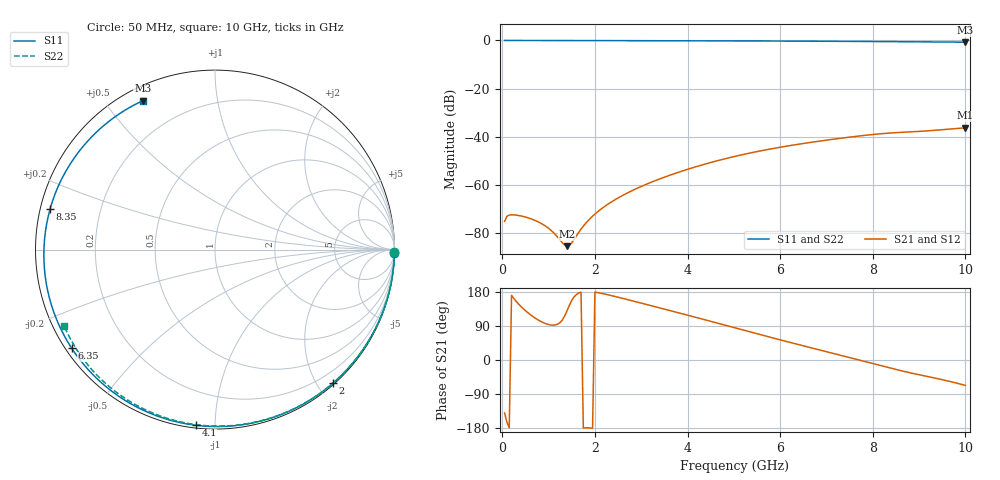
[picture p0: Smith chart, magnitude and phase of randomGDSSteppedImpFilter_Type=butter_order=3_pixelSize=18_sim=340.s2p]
! freq	dB(S11)	phase(S11)	dB(S12)	phase(S12)
!  dB(S21)	phase(S21)	dB(S22)	phase(S22)
!S-par simulation data
#  GHz  S  DB  R 50
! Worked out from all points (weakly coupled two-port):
!   200 points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, 50 MHz to 10 GHz, reference 50 ohm
!   highest |S21| = -36.34 dB at 10 GHz (marker M1); lowest = -85.6 dB at 1.4 GHz (marker M2)
!   lowest |S11| = -0.7 dB at 10 GHz (marker M3), VSWR 24.56, Z = 2.83 + j31.2 ohm
!   |S11| at or under -10 dB: nowhere
!   |S22| runs from -0.5 to 0.0 dB; largest |S21 - S12| = 0
!   S11 on the Smith chart (normalised r, x): 50 MHz: 0, -92; 2 GHz: 0.02, -2.22; 4.1 GHz: 0.01, -0.90; 6.35 GHz: 0.02, -0.31; 8.35 GHz: 0.03, +0.12; 10 GHz: 0.06, +0.62
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0.05  -0.00 -1.2  -75.26 -139.8  -75.26 -139.8  -0.00 -0.9
0.1  -0.00 -2.5  -73.15 -164.4  -73.15 -164.4  -0.00 -1.8
0.15  -0.00 -3.7  -72.66 -178.7  -72.66 -178.7  -0.00 -2.7
0.35  -0.01 -8.7  -72.81 147.9  -72.81 147.9  -0.00 -6.2
0.75  -0.02 -18.5  -75.23 107.4  -75.23 107.4  -0.01 -13.3
1.1  -0.03 -27.0  -79.83 92.0  -79.83 92.0  -0.02 -19.4
1.4  -0.04 -34.3  -85.58 130.5  -85.58 130.5  -0.03 -24.6
1.65  -0.05 -40.3  -79.86 176.8  -79.86 176.8  -0.04 -28.9
1.75  -0.05 -42.6  -77.25 -179.5  -77.25 -179.5  -0.04 -30.6
2  -0.06 -48.6  -72.22 179.2  -72.22 179.2  -0.04 -34.8
2.25  -0.07 -54.4  -68.51 173.1  -68.51 173.1  -0.05 -39.1
2.6  -0.08 -62.5  -64.46 162.6  -64.46 162.6  -0.06 -44.9
3.4  -0.11 -80.7  -57.60 137.5  -57.60 137.5  -0.08 -58.0
4.1  -0.13 -96.2  -53.00 115.1  -53.00 115.1  -0.10 -69.1
5.05  -0.18 -116.9  -48.10 84.1  -48.10 84.1  -0.13 -83.7
5.7  -0.22 -131.1  -45.47 62.8  -45.47 62.8  -0.16 -93.3
6.35  -0.27 -145.4  -43.31 42.1  -43.31 42.1  -0.19 -102.6
6.7  -0.30 -153.3  -42.29 31.3  -42.29 31.3  -0.21 -107.6
7.55  -0.39 -173.4  -40.10 5.2  -40.10 5.2  -0.27 -119.5
8.35  -0.48 166.1  -38.54 -20.2  -38.54 -20.2  -0.34 -130.4
9.15  -0.60 143.4  -37.65 -42.7  -37.65 -42.7  -0.42 -141.4
10  -0.71 115.9  -36.34 -67.0  -36.34 -67.0  -0.52 -153.1
